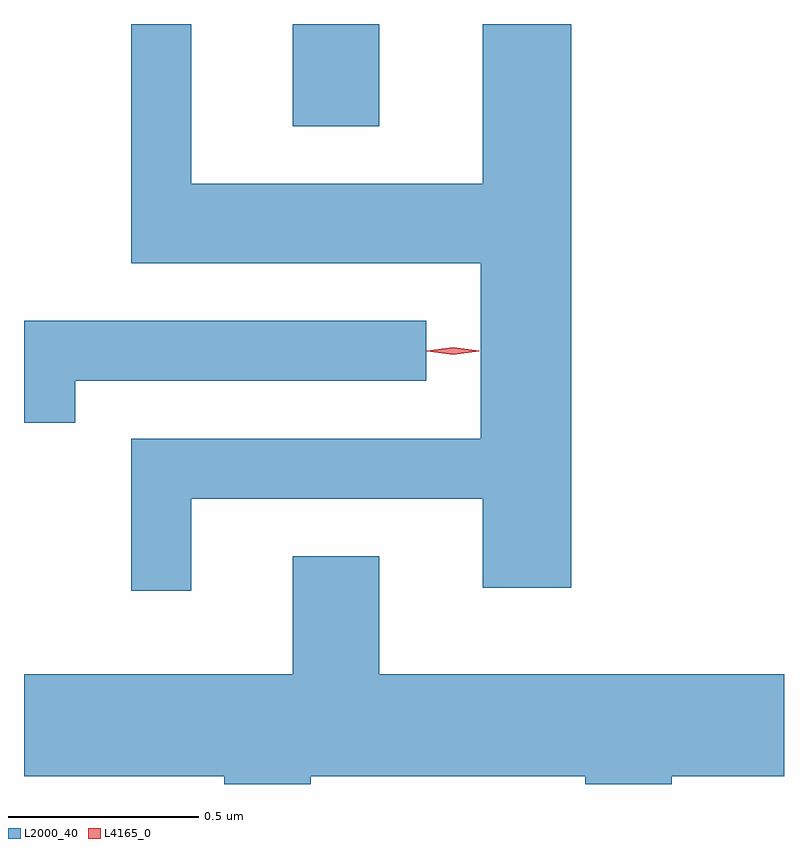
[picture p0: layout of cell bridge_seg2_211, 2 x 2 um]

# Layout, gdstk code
import gdstk
lib = gdstk.Library(unit=1e-6, precision=1e-09)
def R(c, l, rs):  # rectangles x0, y0, x1, y1
    for r in rs: c.add(gdstk.rectangle(r[:2], r[2:], *l))
def P(c, l, *ps):  # polygons
    for p in ps: c.add(gdstk.Polygon(p, *l))
L2000_40 = (2000, 40)
L4165_0 = (4165, 0)

bridge_seg2_211 = lib.new_cell('bridge_seg2_211')
R(bridge_seg2_211, L2000_40, [(899.261,1021.166,899.489,1021.435)])
P(bridge_seg2_211, L2000_40, [(898.994,1020.186),(899.761,1020.186),(899.761,1019.951),(899.994,1019.951),(899.994,1021.435),(899.761,1021.435),(899.761,1021.014),(898.994,1021.014),(898.994,1021.435),(898.836,1021.435),(898.836,1020.806),(899.756,1020.806),(899.756,1020.344),(898.836,1020.344),(898.836,1019.943),(898.994,1019.943)],
  [(898.689,1020.496),(899.613,1020.496),(899.613,1020.654),(898.554,1020.654),(898.554,1020.386),(898.689,1020.386)],
  [(899.309,1019.456),(900.031,1019.456),(900.031,1019.435),(900.259,1019.435),(900.259,1019.456),(900.554,1019.456),(900.554,1019.724),(899.489,1019.724),(899.489,1020.034),(899.261,1020.034),(899.261,1019.724),(898.554,1019.724),(898.554,1019.456),(899.081,1019.456),(899.081,1019.435),(899.309,1019.435)])
P(bridge_seg2_211, L4165_0, [(899.683,1020.565),(899.618,1020.574),(899.617,1020.575),(899.618,1020.575),(899.683,1020.585),(899.749,1020.575),(899.749,1020.575),(899.749,1020.574)],
  [(899.683,1020.565),(899.614,1020.574),(899.614,1020.575),(899.614,1020.575),(899.683,1020.585),(899.752,1020.575),(899.752,1020.575),(899.752,1020.574)])

lib.write_gds('bridge_seg2_211.gds')
